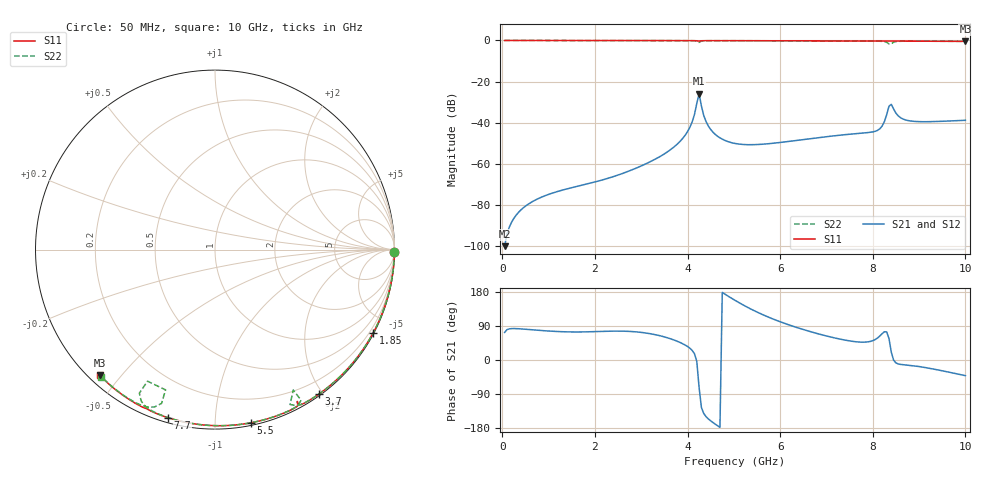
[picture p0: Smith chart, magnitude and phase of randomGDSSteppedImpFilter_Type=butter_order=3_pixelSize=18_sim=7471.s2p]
! freq	dB(S11)	phase(S11)	dB(S12)	phase(S12)
!  dB(S21)	phase(S21)	dB(S22)	phase(S22)
!S-par simulation data
#  GHz  S  DB  R 50
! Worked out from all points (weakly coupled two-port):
!   200 points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, 50 MHz to 10 GHz, reference 50 ohm
!   highest |S21| = -25.87 dB at 4.25 GHz (marker M1); lowest = -99.9 dB at 50 MHz (marker M2)
!   lowest |S11| = -0.4 dB at 10 GHz (marker M3), VSWR 39.04, Z = 1.53 - j22 ohm
!   |S11| at or under -10 dB: nowhere
!   |S22| runs from -1.7 to 0.0 dB; largest |S21 - S12| = 0
!   S11 on the Smith chart (normalised r, x): 50 MHz: open; 1.85 GHz: 0.04, -4.04; 3.7 GHz: 0.02, -1.95; 5.5 GHz: 0.02, -1.23; 7.7 GHz: 0.02, -0.76; 10 GHz: 0.03, -0.44
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0.05  -0.00 -0.8  -99.88 72.8  -99.88 72.8  -0.00 -0.8
0.5  -0.01 -7.6  -80.45 81.2  -80.45 81.2  -0.01 -7.7
1.75  -0.03 -26.3  -70.11 74.1  -70.11 74.1  -0.03 -26.4
1.85  -0.04 -27.8  -69.56 74.4  -69.56 74.4  -0.04 -27.9
3.4  -0.07 -50.2  -56.43 64.2  -56.43 64.2  -0.07 -50.4
3.7  -0.07 -54.4  -51.85 53.1  -51.85 53.1  -0.08 -54.7
4.05  -0.09 -59.4  -42.19 31.2  -42.19 31.2  -0.10 -60.2
4.15  -0.11 -61.0  -35.96 16.4  -35.96 16.4  -0.16 -62.4
4.25  -0.33 -61.5  -25.87 -73.0  -25.87 -73.0  -0.96 -60.9
4.35  -0.11 -62.7  -36.43 -141.2  -36.43 -141.2  -0.16 -61.8
4.5  -0.10 -65.0  -43.24 -160.6  -43.24 -160.6  -0.11 -64.7
5.05  -0.11 -72.4  -50.09 155.7  -50.09 155.7  -0.11 -72.5
5.5  -0.13 -78.3  -50.54 126.6  -50.54 126.6  -0.13 -78.5
6.7  -0.18 -93.5  -47.55 73.2  -47.55 73.2  -0.18 -93.8
7.7  -0.24 -105.6  -45.13 47.4  -45.13 47.4  -0.25 -106.4
8.15  -0.28 -110.9  -42.94 63.1  -42.94 63.1  -0.37 -113.4
8.25  -0.29 -112.1  -39.44 74.6  -39.44 74.6  -0.56 -116.0
8.35  -0.31 -113.2  -31.95 56.8  -31.95 56.8  -1.68 -117.1
8.4  -0.31 -113.7  -31.01 20.7  -31.01 20.7  -1.63 -109.4
8.55  -0.30 -115.5  -36.63 -10.4  -36.63 -10.4  -0.44 -112.5
8.8  -0.32 -118.5  -39.04 -14.0  -39.04 -14.0  -0.35 -117.1
10  -0.45 -132.4  -38.76 -41.3  -38.76 -41.3  -0.45 -131.9
